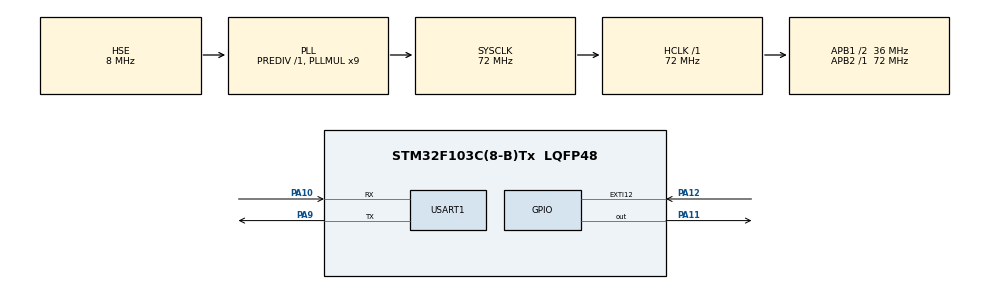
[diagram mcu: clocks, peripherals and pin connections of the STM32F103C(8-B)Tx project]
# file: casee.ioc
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Mcu.Family=STM32F1
Mcu.Name=STM32F103C(8-B)Tx
Mcu.Package=LQFP48
NVIC.EXTI15_10_IRQn=true\:0\:0\:false\:false\:true\:true\:true\:true
NVIC.PriorityGroup=NVIC_PRIORITYGROUP_4
NVIC.TIM1_UP_IRQn=true\:0\:0\:false\:false\:true\:true\:true\:true
NVIC.USART1_IRQn=true\:0\:0\:false\:false\:true\:true\:true\:true
PA10.Mode=Asynchronous
PA10.Signal=USART1_RX
PA11.Signal=GPIO_Output
PA12.GPIO_ModeDefaultEXTI=GPIO_MODE_IT_FALLING
PA12.GPIO_PuPd=GPIO_PULLUP
PA12.Signal=GPXTI12
PA9.Mode=Asynchronous
PA9.Signal=USART1_TX
PD0-OSC_IN.Mode=HSE-External-Oscillator
PD0-OSC_IN.Signal=RCC_OSC_IN
PD1-OSC_OUT.Mode=HSE-External-Oscillator
PD1-OSC_OUT.Signal=RCC_OSC_OUT
ProjectManager.HeapSize=0x200
ProjectManager.StackSize=0x400
ProjectManager.TargetToolchain=STM32CubeIDE
RCC.AHBFreq_Value=72000000
RCC.APB1CLKDivider=RCC_HCLK_DIV2
RCC.APB1Freq_Value=36000000
RCC.APB1TimFreq_Value=72000000
RCC.APB2Freq_Value=72000000
RCC.APB2TimFreq_Value=72000000
RCC.HCLKFreq_Value=72000000
RCC.PLLMUL=RCC_PLL_MUL9
RCC.PLLSourceVirtual=RCC_PLLSOURCE_HSE
RCC.SYSCLKFreq_VALUE=72000000
RCC.SYSCLKSource=RCC_SYSCLKSOURCE_PLLCLK
RCC.USBFreq_Value=72000000
TIM1.Period=1000
TIM1.Prescaler=72
USART1.VirtualMode=VM_ASYNC
VP_TIM1_VS_ClockSourceINT.Mode=Internal
board=custom

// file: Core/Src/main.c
/* USER CODE BEGIN Header */
/**
  ******************************************************************************
  * @file           : main.c
  * @brief          : Main program body
  ******************************************************************************
  * @attention
  *
  * Copyright (c) 2023 STMicroelectronics.
  * All rights reserved.
  *
  * This software is licensed under terms that can be found in the LICENSE file
  * in the root directory of this software component.
  * If no LICENSE file comes with this software, it is provided AS-IS.
  *
  ******************************************************************************
  */
/* USER CODE END Header */
#include "main.h"

/* USER CODE BEGIN Includes */
#include "stdbool.h"
#include "string.h"
#include "stdlib.h"
#include "config.h"
/* USER CODE END Includes */

/* USER CODE BEGIN PTD */
typedef struct UART_HANDLER{
	char rxBuf[1024];
	char txBuf[1024];
	int rxIndex;
	char rxTmp[1];
}UART_HANDLER;

typedef struct TIM_HANDLER_T{
	volatile uint32_t counterValue;
	volatile uint32_t targetValue;
	bool interruptFlag;
}TIM_HANDLER_t;

/* USER CODE END PTD */

TIM_HandleTypeDef htim1;

UART_HandleTypeDef huart1;

/* USER CODE BEGIN PV */
UART_HANDLER uart1;

bool isLedOn = false;
bool isWorking = true;
bool isSecondLedOn = false;
volatile uint32_t sysTimeRising, sysTimeFalling;
int readValue;

TIM_HANDLER_t timStatusLed = {0,NULL,false};
TIM_HANDLER_t timCom = {0,500,false};
TIM_HANDLER_t timRun = {0,UINT32_MAX-1,false};

bool timerHandler(TIM_HANDLER_t* tim)
{
	if ( tim->interruptFlag ){
		tim->interruptFlag = false;
		return true;
	}
	return false;
}

typedef struct MY_PARAMS_T{
	int a ;
}MY_PARAMS;

void timerInterruptHandler(TIM_HANDLER_t* tim,void (*CALLBACK)(MY_PARAMS*),MY_PARAMS* params)
{
	tim->counterValue++;
	if ( tim->counterValue == tim->targetValue ){
		tim->counterValue = 0 ;
		tim->interruptFlag = true;
		if ( timerHandler(tim)){
			CALLBACK(params == NULL ? NULL : params);
		}
	}
}

void timComInterruptCallback(MY_PARAMS* param)
{
	sprintf(uart1.txBuf,"%d,%d,%d,%d,%d\n", isLedOn ,timStatusLed.counterValue, timStatusLed.targetValue,(timStatusLed.targetValue - timStatusLed.counterValue),timRun.counterValue);
	HAL_UART_Transmit_IT(&huart1, uart1.txBuf, strlen(uart1.txBuf));
}

void timStatusLedInterruptCallback(MY_PARAMS* param)
{
	HAL_GPIO_TogglePin(GPIOA, GPIO_PIN_11);
	isLedOn = !isLedOn;
}

void timRunInterruptCallback(MY_PARAMS* param){
	HAL_UART_Transmit_IT(&huart1, "\n\nSYSTEM TIME LIMIT HAS BEEN REACHED. SYSTEM TIME IS BEING RESET !\n\n", strlen("\n\nSYSTEM TIME LIMIT HAS BEEN REACHED. SYSTEM TIME IS BEING RESET !\n\n"));
	timRun.counterValue = 0;
}

/* USER CODE END PV */

void SystemClock_Config(void);
static void MX_GPIO_Init(void);
static void MX_TIM1_Init(void);
static void MX_USART1_UART_Init(void);

/* USER CODE BEGIN 0 */

void HAL_UART_RxCpltCallback(UART_HandleTypeDef *huart){
	if(huart->Instance == USART1){
		if(uart1.rxIndex == 0){
			memset(uart1.rxBuf, '\0', strlen(uart1.rxBuf));
		}
		if(uart1.rxIndex < 1023){
			if(uart1.rxTmp[0] != '!'){
				uart1.rxBuf[uart1.rxIndex++] = uart1.rxTmp[0];
			}
			else{
				uart1.rxBuf[uart1.rxIndex] = '\0';
				int tmp = atoi(uart1.rxBuf);
				if(tmp>0){
					timStatusLed.targetValue = tmp;
					char tmpBuf[1024];
					sprintf(tmpBuf, "NEW LED TARGET VALUE : %d\n STARTING AGAIN!\n", timStatusLed.targetValue);
					HAL_UART_Transmit_IT(&huart1, tmpBuf, strlen(tmpBuf));
					timStatusLed.counterValue = 0;
					timCom.counterValue = 0;
					uart1.rxIndex = 0;
					if(isLedOn){
						HAL_GPIO_WritePin(GPIOA, GPIO_PIN_11, 0);
					}
					isLedOn = false;
					Erase_Flash(FLASH_USER_START_ADDR);
					Write_Flash(FLASH_USER_START_ADDR,timStatusLed.targetValue);
				}
				else{
					HAL_UART_Transmit_IT(&huart1, "PLEASE ENTER A VALID VALUE", strlen("PLEASE ENTER A VALID VALUE"));
				}
			}
		}
		else{
			uart1.rxIndex = 0;
			memset(uart1.rxBuf, '\0', uart1.rxIndex);
		}
		HAL_UART_Receive_IT(&huart1, uart1.rxTmp, 1);
	}
}

void HAL_TIM_PeriodElapsedCallback(TIM_HandleTypeDef *htim){
	if(htim->Instance == htim1.Instance){
		timerInterruptHandler(&timRun, timRunInterruptCallback, NULL);
		if(isWorking){
			timerInterruptHandler(&timStatusLed, timStatusLedInterruptCallback, NULL);
			timerInterruptHandler(&timCom, timComInterruptCallback, NULL);
		}
	}
}

void HAL_GPIO_EXTI_Callback(uint16_t GPIO_Pin){
	if(GPIO_Pin == GPIO_PIN_12){
		if(isWorking){
			isWorking = false;
			sysTimeRising = HAL_GetTick();
			HAL_GPIO_WritePin(GPIOA, GPIO_PIN_11, 0);
			sprintf(uart1.txBuf,"STOPPED!\nValues when stopped : %d,%d,%d,%d,%d\n", isLedOn ,timStatusLed.counterValue, timStatusLed.targetValue,(timStatusLed.targetValue - timStatusLed.counterValue),timRun.counterValue);
			HAL_UART_Transmit_IT(&huart1, uart1.txBuf, strlen(uart1.txBuf));

		}
		else{
			isWorking = true;
			sysTimeFalling = HAL_GetTick();
			if(sysTimeFalling-sysTimeRising < FACTORY_MODE_TIMEOUT){
				HAL_UART_Transmit_IT(&huart1, "STARTED AGAIN!\n", strlen("STARTED AGAIN!\n"));
				if(isLedOn){
					HAL_GPIO_WritePin(GPIOA, GPIO_PIN_11, 1);
				}
			}
			else{
				HAL_UART_Transmit(&huart1, "\n\nRETURNING TO FACTORY MODE !!\n\n", strlen("\n\nRETURNING TO FACTORY MODE !!\n\n"),200);
				Erase_Flash(FLASH_USER_START_ADDR);
				NVIC_SystemReset();
			}
		}
	}
}

uint16_t Read_Flash(uint32_t  adr)
{
  uint16_t * Pntr = (uint16_t *)adr;
  return(*Pntr);
}

void Erase_Flash (uint32_t adr)
{
  FLASH->KEYR=0x45670123;
  FLASH->KEYR=0xCDEF89AB;
  FLASH->CR|=0x00000002;
  FLASH->AR=adr;
  FLASH->CR|=0x00000040;
  while((FLASH->SR&0x00000001));
  FLASH->CR &= ~0x00000042;
  FLASH->CR=0x00000080;
}

void Write_Flash (uint32_t adr, uint16_t data)
{
  FLASH->KEYR=0x45670123;
  FLASH->KEYR=0xCDEF89AB;
  FLASH->CR|=0x00000001;
  *(__IO uint16_t*)adr = data;
  while((FLASH->SR&0x00000001));
  FLASH->CR=0x00000080;
}

/* USER CODE END 0 */

int main(void)
{

  /* MCU Configuration--------------------------------------------------------*/

  /* Reset of all peripherals, Initializes the Flash interface and the Systick. */
  HAL_Init();

  /* Configure the system clock */
  SystemClock_Config();

  /* Initialize all configured peripherals */
  MX_GPIO_Init();
  MX_TIM1_Init();
  MX_USART1_UART_Init();
  /* USER CODE BEGIN 2 */
  readValue = Read_Flash(FLASH_USER_START_ADDR);
  if(ERASED_MEMORY_VALUE == readValue){
	  timStatusLed.targetValue = DEFAULT_LED_TARGET_VALUE;
  }
  else{
	  timStatusLed.targetValue = readValue;
  }

  uart1.rxIndex = 0;
  HAL_UART_Receive_IT(&huart1, uart1.rxTmp, 1);
  HAL_TIM_Base_Start_IT(&htim1);
  HAL_GPIO_WritePin(GPIOB, GPIO_PIN_15, 1);
  /* USER CODE END 2 */

  /* Infinite loop */
  while (1)
  {

  }
}

void SystemClock_Config(void)
{
  RCC_OscInitTypeDef RCC_OscInitStruct = {0};
  RCC_ClkInitTypeDef RCC_ClkInitStruct = {0};

  /** Initializes the RCC Oscillators according to the specified parameters
  * in the RCC_OscInitTypeDef structure.
  */
  RCC_OscInitStruct.OscillatorType = RCC_OSCILLATORTYPE_HSE;
  RCC_OscInitStruct.HSEState = RCC_HSE_ON;
  RCC_OscInitStruct.HSEPredivValue = RCC_HSE_PREDIV_DIV1;
  RCC_OscInitStruct.HSIState = RCC_HSI_ON;
  RCC_OscInitStruct.PLL.PLLState = RCC_PLL_ON;
  RCC_OscInitStruct.PLL.PLLSource = RCC_PLLSOURCE_HSE;
  RCC_OscInitStruct.PLL.PLLMUL = RCC_PLL_MUL9;
  if (HAL_RCC_OscConfig(&RCC_OscInitStruct) != HAL_OK)
  {
    Error_Handler();
  }

  /** Initializes the CPU, AHB and APB buses clocks
  */
  RCC_ClkInitStruct.ClockType = RCC_CLOCKTYPE_HCLK|RCC_CLOCKTYPE_SYSCLK
                              |RCC_CLOCKTYPE_PCLK1|RCC_CLOCKTYPE_PCLK2;
  RCC_ClkInitStruct.SYSCLKSource = RCC_SYSCLKSOURCE_PLLCLK;
  RCC_ClkInitStruct.AHBCLKDivider = RCC_SYSCLK_DIV1;
  RCC_ClkInitStruct.APB1CLKDivider = RCC_HCLK_DIV2;
  RCC_ClkInitStruct.APB2CLKDivider = RCC_HCLK_DIV1;

  if (HAL_RCC_ClockConfig(&RCC_ClkInitStruct, FLASH_LATENCY_2) != HAL_OK)
  {
    Error_Handler();
  }
}

static void MX_TIM1_Init(void)
{

  TIM_ClockConfigTypeDef sClockSourceConfig = {0};
  TIM_MasterConfigTypeDef sMasterConfig = {0};

  htim1.Instance = TIM1;
  htim1.Init.Prescaler = 72;
  htim1.Init.CounterMode = TIM_COUNTERMODE_UP;
  htim1.Init.Period = 1000;
  htim1.Init.ClockDivision = TIM_CLOCKDIVISION_DIV1;
  htim1.Init.RepetitionCounter = 0;
  htim1.Init.AutoReloadPreload = TIM_AUTORELOAD_PRELOAD_DISABLE;
  if (HAL_TIM_Base_Init(&htim1) != HAL_OK)
  {
    Error_Handler();
  }
  sClockSourceConfig.ClockSource = TIM_CLOCKSOURCE_INTERNAL;
  if (HAL_TIM_ConfigClockSource(&htim1, &sClockSourceConfig) != HAL_OK)
  {
    Error_Handler();
  }
  sMasterConfig.MasterOutputTrigger = TIM_TRGO_RESET;
  sMasterConfig.MasterSlaveMode = TIM_MASTERSLAVEMODE_DISABLE;
  if (HAL_TIMEx_MasterConfigSynchronization(&htim1, &sMasterConfig) != HAL_OK)
  {
    Error_Handler();
  }

}

static void MX_USART1_UART_Init(void)
{

  huart1.Instance = USART1;
  huart1.Init.BaudRate = 115200;
  huart1.Init.WordLength = UART_WORDLENGTH_8B;
  huart1.Init.StopBits = UART_STOPBITS_1;
  huart1.Init.Parity = UART_PARITY_NONE;
  huart1.Init.Mode = UART_MODE_TX_RX;
  huart1.Init.HwFlowCtl = UART_HWCONTROL_NONE;
  huart1.Init.OverSampling = UART_OVERSAMPLING_16;
  if (HAL_UART_Init(&huart1) != HAL_OK)
  {
    Error_Handler();
  }

}

static void MX_GPIO_Init(void)
{
  GPIO_InitTypeDef GPIO_InitStruct = {0};

  /* GPIO Ports Clock Enable */
  __HAL_RCC_GPIOD_CLK_ENABLE();
  __HAL_RCC_GPIOA_CLK_ENABLE();

  /*Configure GPIO pin Output Level */
  HAL_GPIO_WritePin(GPIOA, GPIO_PIN_11, GPIO_PIN_RESET);

  /*Configure GPIO pin : PA11 */
  GPIO_InitStruct.Pin = GPIO_PIN_11;
  GPIO_InitStruct.Mode = GPIO_MODE_OUTPUT_PP;
  GPIO_InitStruct.Pull = GPIO_NOPULL;
  GPIO_InitStruct.Speed = GPIO_SPEED_FREQ_LOW;
  HAL_GPIO_Init(GPIOA, &GPIO_InitStruct);

  /*Configure GPIO pin : PA12 */
  GPIO_InitStruct.Pin = GPIO_PIN_12;
  GPIO_InitStruct.Mode = GPIO_MODE_IT_FALLING;
  GPIO_InitStruct.Pull = GPIO_PULLUP;
  HAL_GPIO_Init(GPIOA, &GPIO_InitStruct);

  /* EXTI interrupt init*/
  HAL_NVIC_SetPriority(EXTI15_10_IRQn, 0, 0);
  HAL_NVIC_EnableIRQ(EXTI15_10_IRQn);

}

void Error_Handler(void)
{
  __disable_irq();
  while (1)
  {
  }
}
